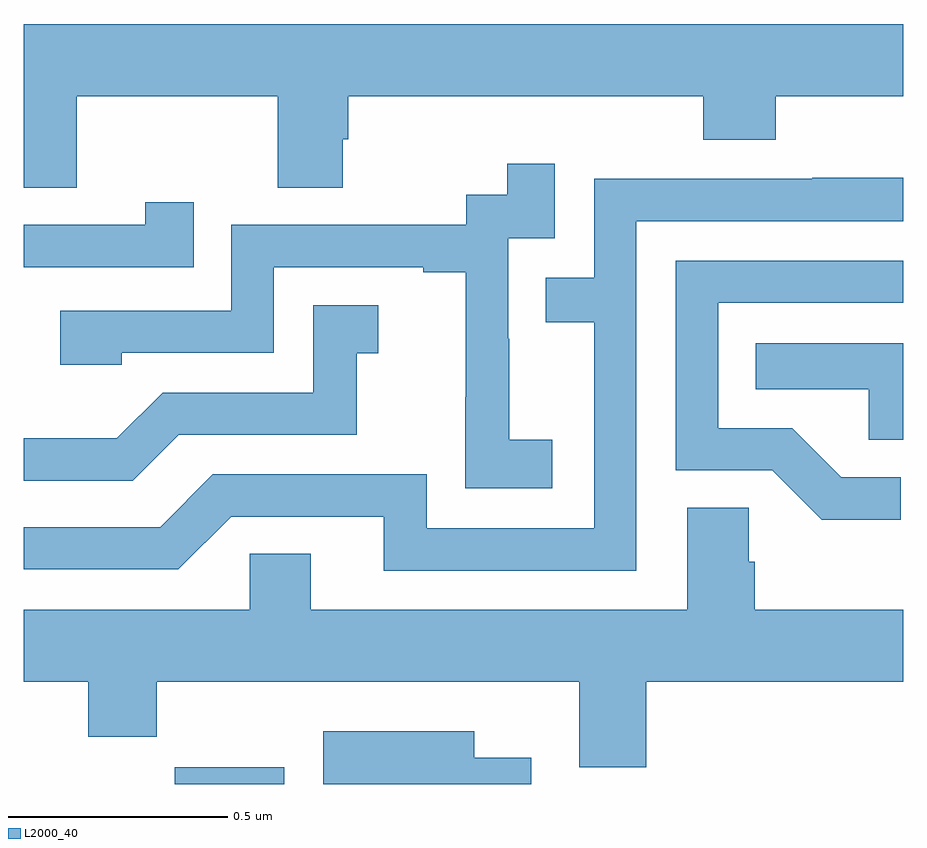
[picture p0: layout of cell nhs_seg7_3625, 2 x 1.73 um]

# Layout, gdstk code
import gdstk
lib = gdstk.Library(unit=1e-6, precision=1e-09)
def R(c, l, rs):  # rectangles x0, y0, x1, y1
    for r in rs: c.add(gdstk.rectangle(r[:2], r[2:], *l))
def P(c, l, *ps):  # polygons
    for p in ps: c.add(gdstk.Polygon(p, *l))
L2000_40 = (2000, 40)

nhs_seg7_3625 = lib.new_cell('nhs_seg7_3625')
R(nhs_seg7_3625, L2000_40, [(161.344,1051,161.593,1051.038)])
P(nhs_seg7_3625, L2000_40, [(161.121,1052.564),(161.578,1052.564),(161.578,1052.356),(161.725,1052.356),(161.725,1052.466),(161.738,1052.466),(161.738,1052.564),(162.545,1052.564),(162.545,1052.465),(162.71,1052.465),(162.71,1052.564),(163,1052.564),(163,1052.728),(161,1052.728),(161,1052.356),(161.121,1052.356)],
  [(162.202,1051.783),(162.104,1051.783),(162.104,1052.012),(162.102,1052.012),(162.102,1052.241),(162.207,1052.241),(162.207,1052.41),(162.099,1052.41),(162.099,1052.34),(162.006,1052.34),(162.006,1052.271),(161.472,1052.271),(161.472,1052.076),(161.083,1052.076),(161.083,1051.953),(161.223,1051.953),(161.223,1051.98),(161.568,1051.98),(161.568,1052.175),(161.909,1052.175),(161.909,1052.163),(162.005,1052.163),(162.005,1051.879),(162.004,1051.879),(162.004,1051.673),(162.202,1051.673)],
  [(162.393,1052.28),(163,1052.28),(163,1052.378),(162.793,1052.378),(162.793,1052.376),(162.297,1052.376),(162.297,1052.151),(162.187,1052.151),(162.187,1052.05),(162.297,1052.05),(162.297,1051.581),(161.916,1051.581),(161.916,1051.704),(161.43,1051.704),(161.31,1051.584),(161,1051.584),(161,1051.488),(161.352,1051.488),(161.472,1051.608),(161.819,1051.608),(161.819,1051.485),(162.393,1051.485)],
  [(161.387,1052.323),(161.276,1052.323),(161.276,1052.271),(161,1052.271),(161,1052.175),(161.387,1052.175)],
  [(162.994,1051.698),(162.859,1051.698),(162.748,1051.809),(162.579,1051.809),(162.579,1052.094),(163,1052.094),(163,1052.19),(162.483,1052.19),(162.483,1051.713),(162.702,1051.713),(162.815,1051.601),(162.994,1051.601)],
  [(161.353,1051.794),(161.757,1051.794),(161.757,1051.979),(161.806,1051.979),(161.806,1052.089),(161.658,1052.089),(161.658,1051.89),(161.316,1051.89),(161.212,1051.786),(161,1051.786),(161,1051.689),(161.248,1051.689)],
  [(163,1052.002),(162.664,1052.002),(162.664,1051.898),(162.921,1051.898),(162.921,1051.783),(163,1051.783)],
  [(162.416,1051.232),(163,1051.232),(163,1051.396),(162.662,1051.396),(162.662,1051.505),(162.648,1051.505),(162.648,1051.628),(162.509,1051.628),(162.509,1051.396),(161.653,1051.396),(161.653,1051.523),(161.514,1051.523),(161.514,1051.396),(161,1051.396),(161,1051.232),(161.147,1051.232),(161.147,1051.108),(161.303,1051.108),(161.303,1051.232),(162.263,1051.232),(162.263,1051.038),(162.416,1051.038)],
  [(162.154,1051.06),(162.025,1051.06),(162.025,1051.12),(161.681,1051.12),(161.681,1051),(162.154,1051)])

lib.write_gds('nhs_seg7_3625.gds')
